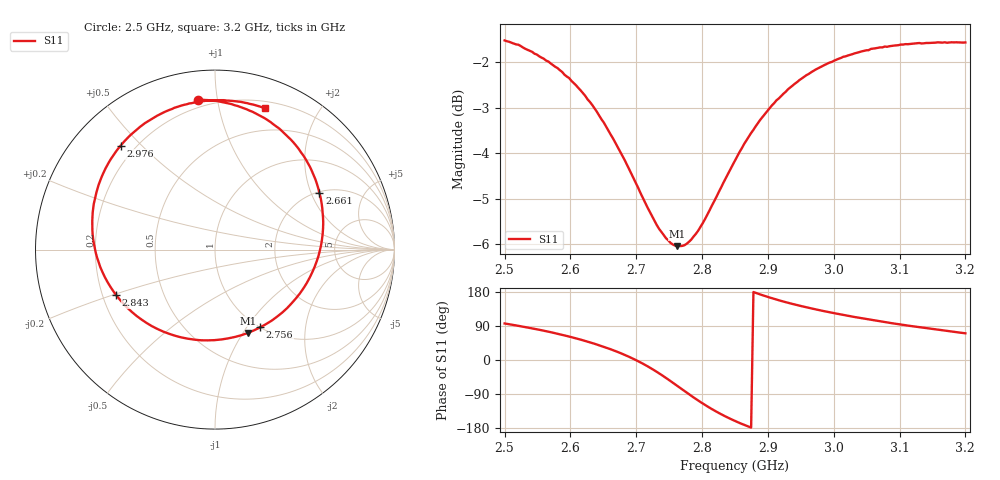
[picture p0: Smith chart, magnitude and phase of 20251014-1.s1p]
#  HZ  S  DB  R  50.00
! Rohde & Schwarz ZVA/B
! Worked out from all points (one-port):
!   201 points, 2.5 GHz to 3.2 GHz, reference 50 ohm
!   lowest |S11| = -6.0 dB at 2.763 GHz (marker M1), VSWR 2.99, Z = 42.5 - j52.6 ohm
!   |S11| at or under -10 dB: nowhere
!   S11 on the Smith chart (normalised r, x): 2.5 GHz: 0.16, +0.88; 2.661 GHz: 2.05, +2.30; 2.756 GHz: 1.00, -1.16; 2.843 GHz: 0.26, -0.21; 2.976 GHz: 0.15, +0.43; 3.2 GHz: 0.27, +1.38
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2.5e9  -1.52 96.4
2.521e9  -1.61 90.1
2.549e9  -1.83 81.1
2.5875e9  -2.21 66.5
2.6225e9  -2.74 50.3
2.64e9  -3.08 40.9
2.661e9  -3.58 28.4
2.675e9  -3.95 19.0
2.696e9  -4.55 2.8
2.717e9  -5.19 -16.4
2.738e9  -5.72 -38.9
2.7555e9  -6.00 -59.8
2.7625e9  -6.04 -68.5
2.78e9  -5.94 -90.2
2.7975e9  -5.62 -110.9
2.822e9  -4.95 -136.6
2.843e9  -4.34 -155.3
2.85e9  -4.16 -160.8
2.8675e9  -3.71 -173.7
2.8885e9  -3.26 172.9
2.913e9  -2.83 159.5
2.9375e9  -2.51 147.9
2.976e9  -2.13 132.3
3.025e9  -1.84 115.6
3.067e9  -1.68 103.0
3.1125e9  -1.60 90.8
3.158e9  -1.56 80.0
3.2e9  -1.56 70.5
